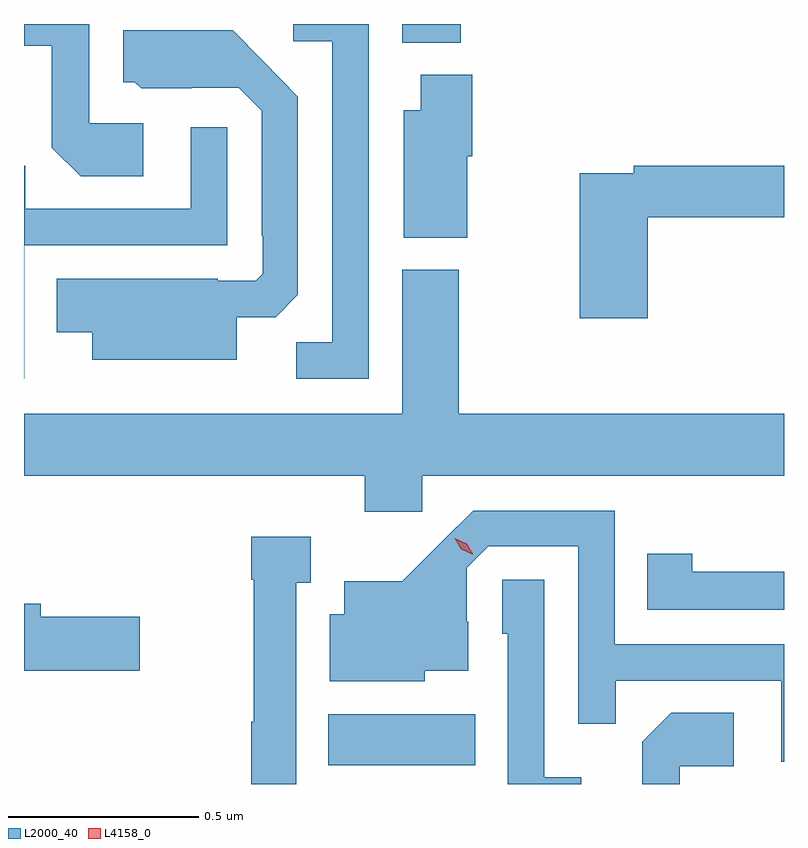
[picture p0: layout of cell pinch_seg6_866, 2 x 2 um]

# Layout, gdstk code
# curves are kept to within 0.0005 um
import gdstk
lib = gdstk.Library(unit=1e-6, precision=1e-09)
def R(c, l, rs):  # rectangles x0, y0, x1, y1
    for r in rs: c.add(gdstk.rectangle(r[:2], r[2:], *l))
def P(c, l, *ps):  # polygons
    for p in ps: c.add(gdstk.Polygon(p, *l))
L2000_40 = (2000, 40)
L4158_0 = (4158, 0)

pinch_seg6_866 = lib.new_cell('pinch_seg6_866')
R(pinch_seg6_866, L2000_40, [(125.825,977.21,126.212,977.344), (126.02,979.112,126.173,979.161)])
P(pinch_seg6_866, L2000_40, [(125.931,979.161),(125.733,979.161),(125.733,979.116),(125.835,979.116),(125.835,978.323),(125.74,978.323),(125.74,978.228),(125.931,978.228)],
  [(125.338,978.9),(125.196,978.9),(125.196,979.161),(125.024,979.161),(125.024,979.104),(125.097,979.104),(125.097,978.836),(125.173,978.76),(125.338,978.76)],
  [(125.584,978.389),(125.686,978.389),(125.745,978.448),(125.745,978.97),(125.573,979.144),(125.285,979.144),(125.285,979.008),(125.316,979.008),(125.332,978.992),(125.466,978.992),(125.466,978.993),(125.589,978.993),(125.649,978.933),(125.649,978.604),(125.652,978.604),(125.652,978.504),(125.634,978.486),(125.534,978.486),(125.534,978.49),(125.11,978.49),(125.11,978.35),(125.204,978.35),(125.204,978.278),(125.584,978.278)],
  [(126.19,978.813),(126.203,978.813),(126.203,979.027),(126.068,979.027),(126.068,978.934),(126.023,978.934),(126.023,978.599),(126.19,978.599)],
  [(125.025,978.579),(125.559,978.579),(125.559,978.889),(125.463,978.889),(125.463,978.675),(125.027,978.675),(125.027,978.788),(125.024,978.788),(125.024,978.228),(125.025,978.228)],
  [(126.665,978.652),(127.024,978.652),(127.024,978.788),(126.628,978.788),(126.628,978.768),(126.487,978.768),(126.487,978.387),(126.665,978.387)],
  [(126.072,977.972),(127.024,977.972),(127.024,978.136),(126.168,978.136),(126.168,978.514),(126.02,978.514),(126.02,978.136),(125.024,978.136),(125.024,977.972),(125.921,977.972),(125.921,977.877),(126.072,977.877)],
  [(127.024,977.529),(126.579,977.529),(126.579,977.88),(126.206,977.88),(126.019,977.695),(125.867,977.695),(125.867,977.608),(125.828,977.608),(125.828,977.432),(126.078,977.432),(126.078,977.459),(126.193,977.459),(126.193,977.588),(126.189,977.588),(126.189,977.73),(126.246,977.787),(126.483,977.787),(126.483,977.32),(126.581,977.32),(126.581,977.433),(127.017,977.433),(127.017,977.22),(127.024,977.22)],
  [(125.74,977.691),(125.779,977.691),(125.779,977.812),(125.622,977.812),(125.622,977.699),(125.629,977.699),(125.629,977.325),(125.622,977.325),(125.622,977.161),(125.74,977.161)],
  [(127.024,977.72),(126.783,977.72),(126.783,977.767),(126.664,977.767),(126.664,977.619),(127.024,977.619)],
  [(126.49,977.179),(126.393,977.179),(126.393,977.699),(126.282,977.699),(126.282,977.556),(126.297,977.556),(126.297,977.161),(126.49,977.161)],
  [(125.329,977.601),(125.068,977.601),(125.068,977.635),(125.024,977.635),(125.024,977.459),(125.329,977.459)],
  [(126.75,977.208),(126.892,977.208),(126.892,977.348),(126.727,977.348),(126.651,977.272),(126.651,977.161),(126.75,977.161)])
P(pinch_seg6_866, L4158_0, [(126.206,977.764),(126.175,977.779),(126.158,977.808),(126.158,977.808),(126.158,977.808),(126.189,977.793),(126.206,977.764),(126.206,977.764)])

lib.write_gds('pinch_seg6_866.gds')
